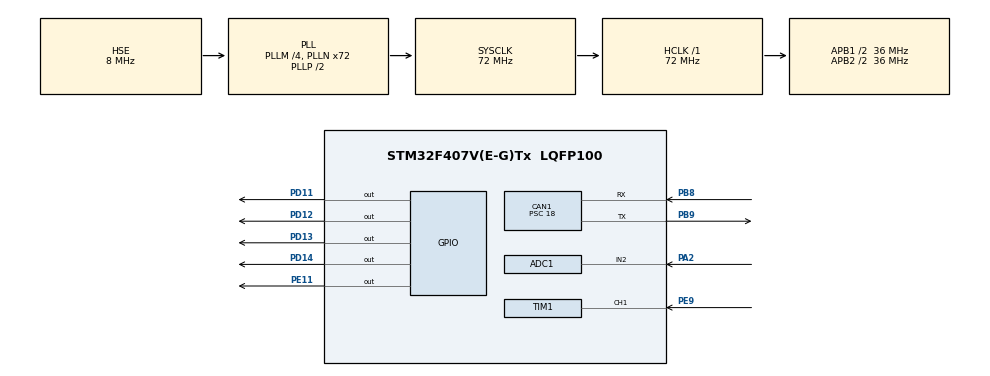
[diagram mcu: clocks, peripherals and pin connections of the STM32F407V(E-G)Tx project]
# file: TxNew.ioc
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ADC1.Channel-0\#ChannelRegularConversion=ADC_CHANNEL_2
ADC1.NbrOfConversionFlag=1
ADC1.Rank-0\#ChannelRegularConversion=1
ADC1.SamplingTime-0\#ChannelRegularConversion=ADC_SAMPLETIME_3CYCLES
ADC1.master=1
CAN1.BS1=CAN_BS1_2TQ
CAN1.CalculateBaudRate=500000
CAN1.CalculateTimeBit=2000
CAN1.CalculateTimeQuantum=500.0
CAN1.Prescaler=18
Mcu.Family=STM32F4
Mcu.Name=STM32F407V(E-G)Tx
Mcu.Package=LQFP100
NVIC.CAN1_RX0_IRQn=true\:0\:0\:false\:false\:true\:true\:true\:true
NVIC.PriorityGroup=NVIC_PRIORITYGROUP_0
NVIC.TIM1_CC_IRQn=true\:0\:0\:false\:false\:true\:true\:true\:true
PA2.Signal=ADCx_IN2
PB8.Mode=CAN_Activate
PB8.Signal=CAN1_RX
PB9.Mode=CAN_Activate
PB9.Signal=CAN1_TX
PD11.Signal=GPIO_Output
PD12.Signal=GPIO_Output
PD13.Signal=GPIO_Output
PD14.Signal=GPIO_Output
PE11.Signal=GPIO_Output
PE9.Signal=S_TIM1_CH1
PH0-OSC_IN.Mode=HSE-External-Oscillator
PH0-OSC_IN.Signal=RCC_OSC_IN
PH1-OSC_OUT.Mode=HSE-External-Oscillator
PH1-OSC_OUT.Signal=RCC_OSC_OUT
ProjectManager.HeapSize=0x200
ProjectManager.StackSize=0x400
ProjectManager.TargetToolchain=STM32CubeIDE
RCC.48MHZClocksFreq_Value=20571428.57142857
RCC.AHBFreq_Value=72000000
RCC.APB1CLKDivider=RCC_HCLK_DIV2
RCC.APB1Freq_Value=36000000
RCC.APB1TimFreq_Value=72000000
RCC.APB2CLKDivider=RCC_HCLK_DIV2
RCC.APB2Freq_Value=36000000
RCC.APB2TimFreq_Value=72000000
RCC.CortexFreq_Value=72000000
RCC.HCLKFreq_Value=72000000
RCC.HSE_VALUE=8000000
RCC.HSI_VALUE=16000000
RCC.LSE_VALUE=32768
RCC.PLLM=4
RCC.PLLN=72
RCC.PLLQ=7
RCC.PLLSourceVirtual=RCC_PLLSOURCE_HSE
RCC.SYSCLKFreq_VALUE=72000000
RCC.SYSCLKSource=RCC_SYSCLKSOURCE_PLLCLK
RCC.VCOOutputFreq_Value=144000000
SH.ADCx_IN2.0=ADC1_IN2,IN2
SH.S_TIM1_CH1.0=TIM1_CH1,Input_Capture1_from_TI1
TIM1.Channel-Input_Capture1_from_TI1=TIM_CHANNEL_1
TIM1.Prescaler=71
board=STM32F407G-DISC1

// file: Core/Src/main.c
/* USER CODE BEGIN Header */
/**
  ******************************************************************************
  * @file           : main.c
  * @brief          : Main program body
  ******************************************************************************
  * @attention
  *
  * Copyright (c) 2024 STMicroelectronics.
  * All rights reserved.
  *
  * This software is licensed under terms that can be found in the LICENSE file
  * in the root directory of this software component.
  * If no LICENSE file comes with this software, it is provided AS-IS.
  *
  ******************************************************************************
  */
/* USER CODE END Header */
#include "main.h"

/* USER CODE BEGIN Includes */
#include <stdio.h>
/* USER CODE END Includes */

ADC_HandleTypeDef hadc1;

CAN_HandleTypeDef hcan1;

TIM_HandleTypeDef htim1;

void SystemClock_Config(void);
static void MX_GPIO_Init(void);
static void MX_CAN1_Init(void);
static void MX_TIM1_Init(void);
static void MX_ADC1_Init(void);

/* USER CODE BEGIN 0 */
CAN_TxHeaderTypeDef TxHeader;
uint8_t LM35;
//volatile int Switch_Flag = 0;
uint8_t TxData[5];
uint32_t TxMailBox;
void delay (uint16_t time)
{
	__HAL_TIM_SET_COUNTER(&htim1, 0);
	while (__HAL_TIM_GET_COUNTER (&htim1) < time);
}

uint32_t IC_Val1 = 0;
uint32_t IC_Val2 = 0;
uint32_t Difference = 0;
uint8_t Is_First_Captured = 0;  // is the first value captured ?
uint8_t Distance  = 0;
uint32_t adc = 0;
int Temp = 0;

#define TRIG_PIN GPIO_PIN_11
#define TRIG_PORT GPIOE

// Let's write the callback function

void HAL_TIM_IC_CaptureCallback(TIM_HandleTypeDef *htim)
{
	if (htim->Channel == HAL_TIM_ACTIVE_CHANNEL_1)  // if the interrupt source is channel1
	{
		if (Is_First_Captured==0) // if the first value is not captured
		{
			IC_Val1 = HAL_TIM_ReadCapturedValue(htim, TIM_CHANNEL_1); // read the first value
			Is_First_Captured = 1;  // set the first captured as true
			// Now change the polarity to falling edge
			__HAL_TIM_SET_CAPTUREPOLARITY(htim, TIM_CHANNEL_1, TIM_INPUTCHANNELPOLARITY_FALLING);
		}

		else if (Is_First_Captured==1)   // if the first is already captured
		{
			IC_Val2 = HAL_TIM_ReadCapturedValue(htim, TIM_CHANNEL_1);  // read second value
			__HAL_TIM_SET_COUNTER(htim, 0);  // reset the counter

			if (IC_Val2 > IC_Val1)
			{
				Difference = IC_Val2-IC_Val1;
			}

			else if (IC_Val1 > IC_Val2)
			{
				Difference = (0xffff - IC_Val1) + IC_Val2;
			}

			Distance = Difference * .034/2;
			Is_First_Captured = 0; // set it back to false

			// set polarity to rising edge
			__HAL_TIM_SET_CAPTUREPOLARITY(htim, TIM_CHANNEL_1, TIM_INPUTCHANNELPOLARITY_RISING);
			__HAL_TIM_DISABLE_IT(&htim1, TIM_IT_CC1);
		}
	}
}

void HCSR04_Read (void)
{
	HAL_GPIO_WritePin(TRIG_PORT, TRIG_PIN, GPIO_PIN_SET);  // pull the TRIG pin HIGH
	delay(10);  // wait for 10 us
	HAL_GPIO_WritePin(TRIG_PORT, TRIG_PIN, GPIO_PIN_RESET);  // pull the TRIG pin low

	__HAL_TIM_ENABLE_IT(&htim1, TIM_IT_CC1);
}

/* USER CODE END 0 */

int main(void)
{

  /* MCU Configuration--------------------------------------------------------*/

  /* Reset of all peripherals, Initializes the Flash interface and the Systick. */
  HAL_Init();

  /* Configure the system clock */
  SystemClock_Config();

  /* Initialize all configured peripherals */
  MX_GPIO_Init();
  MX_CAN1_Init();
  MX_TIM1_Init();
  MX_ADC1_Init();
  /* USER CODE BEGIN 2 */
  HAL_CAN_Start(&hcan1);
  HAL_CAN_ActivateNotification(&hcan1, CAN_IT_RX_FIFO0_MSG_PENDING);
  HAL_Delay(100);
  HAL_Delay(100);

  TxHeader.DLC=3;
  TxHeader.RTR=CAN_RTR_DATA;
  TxHeader.IDE=CAN_ID_STD;
  TxHeader.ExtId=0x0;
  TxHeader.StdId=0x0AA;
  TxHeader.TransmitGlobalTime=DISABLE;

  TxData[0] = 0;

  HAL_TIM_IC_Start_IT(&htim1, TIM_CHANNEL_1);

  /* USER CODE END 2 */

  /* Infinite loop */
  /* USER CODE BEGIN WHILE */
  while (1)
  {
	 HAL_ADC_Start(&hadc1);//PA2
	 HAL_ADC_PollForConversion(&hadc1, HAL_MAX_DELAY);
	 	  	  LM35 = HAL_ADC_GetValue(&hadc1) / 12 ; //divided by 12 bcoz 10mv=1degreeCel. in LM 35
	 	  	  HAL_ADC_Stop(&hadc1);

	  HCSR04_Read();
	  TxData[0] = !TxData[0]; //LED
	  TxData[1] = LM35;
	  TxData[2] = Distance;
	  if (HAL_CAN_AddTxMessage(&hcan1, &TxHeader, TxData, &TxMailBox) != HAL_OK)
		  	  Error_Handler();
	  HAL_GPIO_TogglePin(GPIOD, GPIO_PIN_12);  // cheacking for transmission
	  HAL_Delay(500);
    /* USER CODE END WHILE */

  }
}

void SystemClock_Config(void)
{
  RCC_OscInitTypeDef RCC_OscInitStruct = {0};
  RCC_ClkInitTypeDef RCC_ClkInitStruct = {0};

  /** Configure the main internal regulator output voltage
  */
  __HAL_RCC_PWR_CLK_ENABLE();
  __HAL_PWR_VOLTAGESCALING_CONFIG(PWR_REGULATOR_VOLTAGE_SCALE1);

  /** Initializes the RCC Oscillators according to the specified parameters
  * in the RCC_OscInitTypeDef structure.
  */
  RCC_OscInitStruct.OscillatorType = RCC_OSCILLATORTYPE_HSE;
  RCC_OscInitStruct.HSEState = RCC_HSE_ON;
  RCC_OscInitStruct.PLL.PLLState = RCC_PLL_ON;
  RCC_OscInitStruct.PLL.PLLSource = RCC_PLLSOURCE_HSE;
  RCC_OscInitStruct.PLL.PLLM = 4;
  RCC_OscInitStruct.PLL.PLLN = 72;
  RCC_OscInitStruct.PLL.PLLP = RCC_PLLP_DIV2;
  RCC_OscInitStruct.PLL.PLLQ = 7;
  if (HAL_RCC_OscConfig(&RCC_OscInitStruct) != HAL_OK)
  {
    Error_Handler();
  }

  /** Initializes the CPU, AHB and APB buses clocks
  */
  RCC_ClkInitStruct.ClockType = RCC_CLOCKTYPE_HCLK|RCC_CLOCKTYPE_SYSCLK
                              |RCC_CLOCKTYPE_PCLK1|RCC_CLOCKTYPE_PCLK2;
  RCC_ClkInitStruct.SYSCLKSource = RCC_SYSCLKSOURCE_PLLCLK;
  RCC_ClkInitStruct.AHBCLKDivider = RCC_SYSCLK_DIV1;
  RCC_ClkInitStruct.APB1CLKDivider = RCC_HCLK_DIV2;
  RCC_ClkInitStruct.APB2CLKDivider = RCC_HCLK_DIV2;

  if (HAL_RCC_ClockConfig(&RCC_ClkInitStruct, FLASH_LATENCY_2) != HAL_OK)
  {
    Error_Handler();
  }
}

static void MX_ADC1_Init(void)
{

  ADC_ChannelConfTypeDef sConfig = {0};

  /** Configure the global features of the ADC (Clock, Resolution, Data Alignment and number of conversion)
  */
  hadc1.Instance = ADC1;
  hadc1.Init.ClockPrescaler = ADC_CLOCK_SYNC_PCLK_DIV2;
  hadc1.Init.Resolution = ADC_RESOLUTION_12B;
  hadc1.Init.ScanConvMode = DISABLE;
  hadc1.Init.ContinuousConvMode = DISABLE;
  hadc1.Init.DiscontinuousConvMode = DISABLE;
  hadc1.Init.ExternalTrigConvEdge = ADC_EXTERNALTRIGCONVEDGE_NONE;
  hadc1.Init.ExternalTrigConv = ADC_SOFTWARE_START;
  hadc1.Init.DataAlign = ADC_DATAALIGN_RIGHT;
  hadc1.Init.NbrOfConversion = 1;
  hadc1.Init.DMAContinuousRequests = DISABLE;
  hadc1.Init.EOCSelection = ADC_EOC_SINGLE_CONV;
  if (HAL_ADC_Init(&hadc1) != HAL_OK)
  {
    Error_Handler();
  }

  /** Configure for the selected ADC regular channel its corresponding rank in the sequencer and its sample time.
  */
  sConfig.Channel = ADC_CHANNEL_2;
  sConfig.Rank = 1;
  sConfig.SamplingTime = ADC_SAMPLETIME_3CYCLES;
  if (HAL_ADC_ConfigChannel(&hadc1, &sConfig) != HAL_OK)
  {
    Error_Handler();
  }

}

static void MX_CAN1_Init(void)
{

  hcan1.Instance = CAN1;
  hcan1.Init.Prescaler = 18;
  hcan1.Init.Mode = CAN_MODE_NORMAL;
  hcan1.Init.SyncJumpWidth = CAN_SJW_1TQ;
  hcan1.Init.TimeSeg1 = CAN_BS1_2TQ;
  hcan1.Init.TimeSeg2 = CAN_BS2_1TQ;
  hcan1.Init.TimeTriggeredMode = DISABLE;
  hcan1.Init.AutoBusOff = DISABLE;
  hcan1.Init.AutoWakeUp = DISABLE;
  hcan1.Init.AutoRetransmission = DISABLE;
  hcan1.Init.ReceiveFifoLocked = DISABLE;
  hcan1.Init.TransmitFifoPriority = DISABLE;
  if (HAL_CAN_Init(&hcan1) != HAL_OK)
  {
    Error_Handler();
  }
  /* USER CODE BEGIN CAN1_Init 2 */
  CAN_FilterTypeDef canFilterConfig;
    canFilterConfig.FilterActivation=CAN_FILTER_ENABLE;
    canFilterConfig.SlaveStartFilterBank=14;//total 28 filters...0-14 lower (master) 15-27(slave)
    canFilterConfig.FilterBank=2;//master 2
    canFilterConfig.FilterFIFOAssignment=CAN_RX_FIFO0;//assign can filter
    canFilterConfig.FilterScale=CAN_FILTERSCALE_32BIT;//32
    canFilterConfig.FilterMode=CAN_FILTERMODE_IDMASK;
    canFilterConfig.FilterMaskIdLow=0x0000;
    canFilterConfig.FilterMaskIdHigh=0xFF00;
    canFilterConfig.FilterIdLow=0x0000;
    canFilterConfig.FilterIdHigh=0x1500;
    HAL_CAN_ConfigFilter(&hcan1, &canFilterConfig);
  /* USER CODE END CAN1_Init 2 */

}

static void MX_TIM1_Init(void)
{

  TIM_MasterConfigTypeDef sMasterConfig = {0};
  TIM_IC_InitTypeDef sConfigIC = {0};

  htim1.Instance = TIM1;
  htim1.Init.Prescaler = 71;
  htim1.Init.CounterMode = TIM_COUNTERMODE_UP;
  htim1.Init.Period = 65535;
  htim1.Init.ClockDivision = TIM_CLOCKDIVISION_DIV1;
  htim1.Init.RepetitionCounter = 0;
  htim1.Init.AutoReloadPreload = TIM_AUTORELOAD_PRELOAD_DISABLE;
  if (HAL_TIM_IC_Init(&htim1) != HAL_OK)
  {
    Error_Handler();
  }
  sMasterConfig.MasterOutputTrigger = TIM_TRGO_RESET;
  sMasterConfig.MasterSlaveMode = TIM_MASTERSLAVEMODE_DISABLE;
  if (HAL_TIMEx_MasterConfigSynchronization(&htim1, &sMasterConfig) != HAL_OK)
  {
    Error_Handler();
  }
  sConfigIC.ICPolarity = TIM_INPUTCHANNELPOLARITY_RISING;
  sConfigIC.ICSelection = TIM_ICSELECTION_DIRECTTI;
  sConfigIC.ICPrescaler = TIM_ICPSC_DIV1;
  sConfigIC.ICFilter = 0;
  if (HAL_TIM_IC_ConfigChannel(&htim1, &sConfigIC, TIM_CHANNEL_1) != HAL_OK)
  {
    Error_Handler();
  }

}

static void MX_GPIO_Init(void)
{
  GPIO_InitTypeDef GPIO_InitStruct = {0};

  /* GPIO Ports Clock Enable */
  __HAL_RCC_GPIOH_CLK_ENABLE();
  __HAL_RCC_GPIOA_CLK_ENABLE();
  __HAL_RCC_GPIOE_CLK_ENABLE();
  __HAL_RCC_GPIOD_CLK_ENABLE();
  __HAL_RCC_GPIOB_CLK_ENABLE();

  /*Configure GPIO pin Output Level */
  HAL_GPIO_WritePin(GPIOE, GPIO_PIN_11, GPIO_PIN_RESET);

  /*Configure GPIO pin Output Level */
  HAL_GPIO_WritePin(GPIOD, GPIO_PIN_11|GPIO_PIN_12|GPIO_PIN_13|GPIO_PIN_14, GPIO_PIN_RESET);

  /*Configure GPIO pin : PE11 */
  GPIO_InitStruct.Pin = GPIO_PIN_11;
  GPIO_InitStruct.Mode = GPIO_MODE_OUTPUT_PP;
  GPIO_InitStruct.Pull = GPIO_NOPULL;
  GPIO_InitStruct.Speed = GPIO_SPEED_FREQ_LOW;
  HAL_GPIO_Init(GPIOE, &GPIO_InitStruct);

  /*Configure GPIO pins : PD11 PD12 PD13 PD14 */
  GPIO_InitStruct.Pin = GPIO_PIN_11|GPIO_PIN_12|GPIO_PIN_13|GPIO_PIN_14;
  GPIO_InitStruct.Mode = GPIO_MODE_OUTPUT_PP;
  GPIO_InitStruct.Pull = GPIO_NOPULL;
  GPIO_InitStruct.Speed = GPIO_SPEED_FREQ_LOW;
  HAL_GPIO_Init(GPIOD, &GPIO_InitStruct);

}

void Error_Handler(void)
{
  __disable_irq();
  while (1)
  {
  }
}
